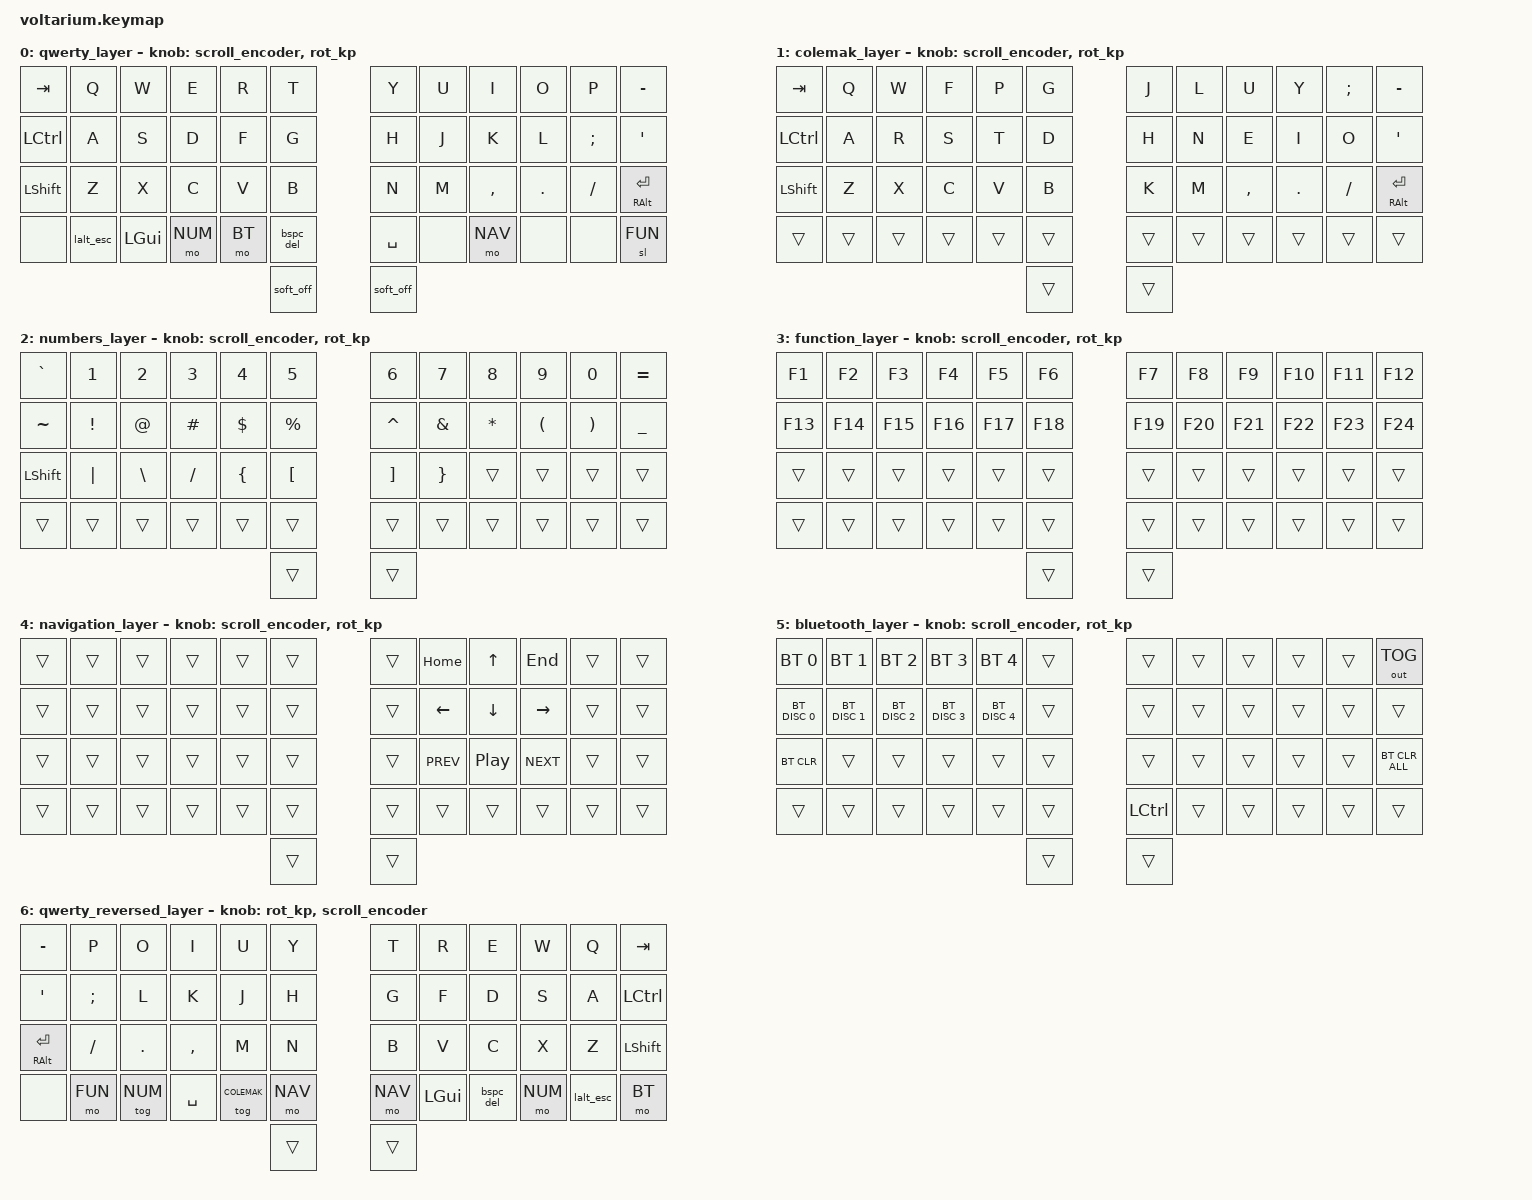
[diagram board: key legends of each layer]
#include <behaviors.dtsi>
#include <dt-bindings/zmk/keys.h>
#include <dt-bindings/zmk/bt.h>
#include <dt-bindings/zmk/outputs.h>
#include <dt-bindings/zmk/mouse.h>
#include <dt-bindings/zmk/ext_power.h>

#define ZMK_MOUSE_DEFAULT_SCRL_VAL 35

#define DEFAULT 0
#define COLEMAK 1
#define NUM 2
#define FUN 3
#define NAV 4
#define BT 5
#define QWERTYREV 6

/ {
	macros {
        alt_tab: alt_tab {
            compatible = "zmk,behavior-macro";
            #binding-cells = <0>;
            bindings
                = <&macro_press &kp LALT>
                , <&macro_tap &kp TAB>
                , <&macro_release &kp LALT>
                ;
        };
    };

	combos {
		compatible = "zmk,combos";
		combo_esc {
			timeout-ms = <50>;
			key-positions = <15 16>;
			bindings = <&kp ESC>;
		};
		combo_esc_2 {
			timeout-ms = <50>;
			key-positions = <16 19>;
			bindings = <&kp ESC>;
		};

		combo_capslock {
			timeout-ms = <50>;
			key-positions = <13 25>;
			bindings = <&kp CAPS>;
		};

		combo_swap {
			timeout-ms = <50>;
			key-positions = <1 2>;
			bindings = <&tog QWERTYREV>;
		};
	};
	
	behaviors {
		rot_kp: rot_kp {
			compatible = "zmk,behavior-sensor-rotate";
			#sensor-binding-cells = <0>;
			#binding-cells = <0>;
			tap-ms = <180>;
			bindings = <&kp LEFT>, <&kp RIGHT>;
		};

		rot_pg_ud_kp: rot_pg_ud_kp {
			compatible = "zmk,behavior-sensor-rotate";
			#sensor-binding-cells = <0>;
			#binding-cells = <0>;
			bindings = <&kp PG_DN>, <&kp PG_UP>;
		};

		scroll_encoder_new: scroll_encoder_new {
            compatible = "zmk,behavior-sensor-rotate";
            #sensor-binding-cells = <0>;
			#binding-cells = <0>;
            bindings = <&msc MOVE_UP>, <&msc MOVE_DOWN>;
            tap-ms = <120>;
        };

		scroll_encoder: scroll_encoder {
            compatible = "zmk,behavior-sensor-rotate";
            #sensor-binding-cells = <0>;
			#binding-cells = <0>;
            bindings = <&msc SCRL_DOWN>, <&msc SCRL_UP>;
            tap-ms = <120>;
        };

		bspc_del: backspace_delete {
            compatible = "zmk,behavior-mod-morph";
            #binding-cells = <0>;
            bindings = <&kp BACKSPACE>, <&kp DELETE>;
            mods = <(MOD_LSFT|MOD_RSFT)>;
        };

		nav_brace: navigation_brace {
			compatible = "zmk,behavior-mod-morph";
            #binding-cells = <0>;
            bindings = <&brace_tap>, <&tog NAV>;
            mods = <(MOD_LCTL|MOD_LSFT)>;
		};

		lalt_esc: tap_dance_0 {
			compatible = "zmk,behavior-tap-dance";
            #binding-cells = <0>;
            tapping-term-ms = <200>;
            bindings = <&kp LALT>, <&kp ESC>;
		};
		
		brace_tap: tap_dance_2 {
			compatible = "zmk,behavior-tap-dance";
            #binding-cells = <0>;
            tapping-term-ms = <200>;
			bindings = <&kp LEFT_BRACE>, <&kp RIGHT_BRACE>;
		};

		paren_tap: tap_dance_3 {
			compatible = "zmk,behavior-tap-dance";
            #binding-cells = <0>;
            tapping-term-ms = <200>;
            bindings = <&kp LEFT_PARENTHESIS>, <&kp RIGHT_PARENTHESIS>;
		};
	};

	keymap {
		compatible = "zmk,keymap";
		
		qwerty_layer {
			bindings = <
				&kp TAB &kp Q &kp W &kp E &kp R &kp T &kp Y &kp U &kp I &kp O &kp P &kp MINUS
				&kp LCTRL &kp A &kp S &kp D &kp F &kp G &kp H &kp J &kp K &kp L &kp SEMI &kp APOS
				&kp LSHFT &kp Z &kp X &kp C &kp V &kp B &kp N &kp M &kp COMMA &kp PERIOD &kp FSLH &mt RALT RETURN	
				&none &lalt_esc &kp LGUI &mo NUM &mo BT &bspc_del &kp SPACE &none &mo NAV &none &none &sl FUN
				&soft_off &soft_off
			>;
			sensor-bindings = <&scroll_encoder>, <&rot_kp>;
		};

		colemak_layer {
			bindings = <
				&kp TAB &kp Q &kp W &kp F &kp P &kp G &kp J &kp L &kp U &kp Y &kp SEMI &kp MINUS
				&kp LCTRL &kp A &kp R &kp S &kp T &kp D &kp H &kp N &kp E &kp I &kp O &kp APOS
				&kp LSHFT &kp Z &kp X &kp C &kp V &kp B &kp K &kp M &kp COMMA &kp PERIOD &kp FSLH &mt RALT RETURN	
				&trans &trans &trans &trans &trans &trans &trans &trans &trans &trans &trans &trans
				&trans &trans
			>;
			sensor-bindings = <&scroll_encoder>, <&rot_kp>;
		};

		numbers_layer {
			bindings = <
				&kp GRAVE &kp N1 &kp N2 &kp N3 &kp N4 &kp N5 &kp N6 &kp N7 &kp N8 &kp N9 &kp N0 &kp EQUAL
				&kp TILDE &kp EXCL &kp AT &kp POUND &kp DOLLAR &kp PRCNT &kp CARET &kp AMPS &kp ASTRK &kp LPAR &kp RPAR &kp UNDER
				&kp LSHFT &kp PIPE &kp BSLH &kp FSLH &kp LBRC &kp LBKT &kp RBKT &kp RBRC &trans &trans &trans &trans
				&trans &trans &trans &trans &trans &trans &trans &trans &trans &trans &trans &trans
				&trans &trans
			>;
			sensor-bindings = <&scroll_encoder>, <&rot_kp>;
		};

		function_layer {
			bindings = <
				&kp F1 &kp F2 &kp F3 &kp F4 &kp F5 &kp F6 &kp F7 &kp F8 &kp F9 &kp F10 &kp F11 &kp F12
				&kp F13 &kp F14 &kp F15 &kp F16 &kp F17 &kp F18 &kp F19 &kp F20 &kp F21 &kp F22 &kp F23 &kp F24
				&trans &trans &trans &trans &trans &trans &trans &trans &trans &trans &trans &trans
				&trans &trans &trans &trans &trans &trans &trans &trans &trans &trans &trans &trans
				&trans &trans
			>;
			sensor-bindings = <&scroll_encoder>, <&rot_kp>;
		};

		navigation_layer {
			bindings = <
				&trans &trans &trans &trans &trans &trans &trans &kp HOME &kp UP &kp END &trans &trans
				&trans &trans &trans &trans &trans &trans &trans &kp LEFT &kp DOWN &kp RIGHT &trans &trans
				&trans &trans &trans &trans &trans &trans &trans &kp C_PREV &kp C_PP &kp C_NEXT &trans &trans
				&trans &trans &trans &trans &trans &trans &trans &trans &trans &trans &trans &trans
				&trans &trans
			>;
			sensor-bindings = <&scroll_encoder>, <&rot_kp>;
		};

		bluetooth_layer {
			bindings = <
				&bt BT_SEL 0 &bt BT_SEL 1 &bt BT_SEL 2 &bt BT_SEL 3 &bt BT_SEL 4 &trans &trans &trans &trans &trans &trans &out OUT_TOG
				&bt BT_DISC 0 &bt BT_DISC 1 &bt BT_DISC 2 &bt BT_DISC 3 &bt BT_DISC 4 &trans &trans &trans &trans &trans &trans &trans
				&bt BT_CLR &trans &trans &trans &trans &trans &trans &trans &trans &trans &trans &bt BT_CLR_ALL
				&trans &trans &trans &trans &trans &trans &kp LCTRL &trans &trans &trans &trans &trans
				&trans &trans
			>;
			sensor-bindings = <&scroll_encoder>, <&rot_kp>;
		};

		qwerty_reversed_layer {
			bindings = <
				&kp MINUS &kp P &kp O &kp I &kp U &kp Y &kp T &kp R &kp E &kp W &kp Q &kp TAB
				&kp APOS &kp SEMI &kp L &kp K &kp J &kp H &kp G &kp F &kp D &kp S &kp A &kp LCTRL
				&mt RALT RETURN &kp FSLH &kp PERIOD &kp COMMA &kp M &kp N &kp B &kp V &kp C &kp X &kp Z &kp LSHFT	
				&none &mo FUN &tog NUM &kp SPACE &tog COLEMAK &mo NAV &mo NAV &kp LGUI &bspc_del &mo NUM &lalt_esc &mo BT
				&trans &trans
			>;
			sensor-bindings = <&rot_kp>, <&scroll_encoder>;
		};
	};
};

&pinctrl {
    spi0_default: spi0_default {
        group1 {
            psels = <NRF_PSEL(SPIM_SCK, 0, 8)>,
                <NRF_PSEL(SPIM_MOSI, 0, 10)>,
                <NRF_PSEL(SPIM_MISO, 0, 11)>;
        };
    };
    spi0_sleep: spi0_sleep {
        group1 {
            psels = <NRF_PSEL(SPIM_SCK, 0, 8)>,
                <NRF_PSEL(SPIM_MOSI, 0, 10)>,
                <NRF_PSEL(SPIM_MISO, 0, 11)>;
            low-power-enable;
        };
    };
};

&nice_view_spi {
	cs-gpios = <&pro_micro 10 GPIO_ACTIVE_HIGH>;
};
